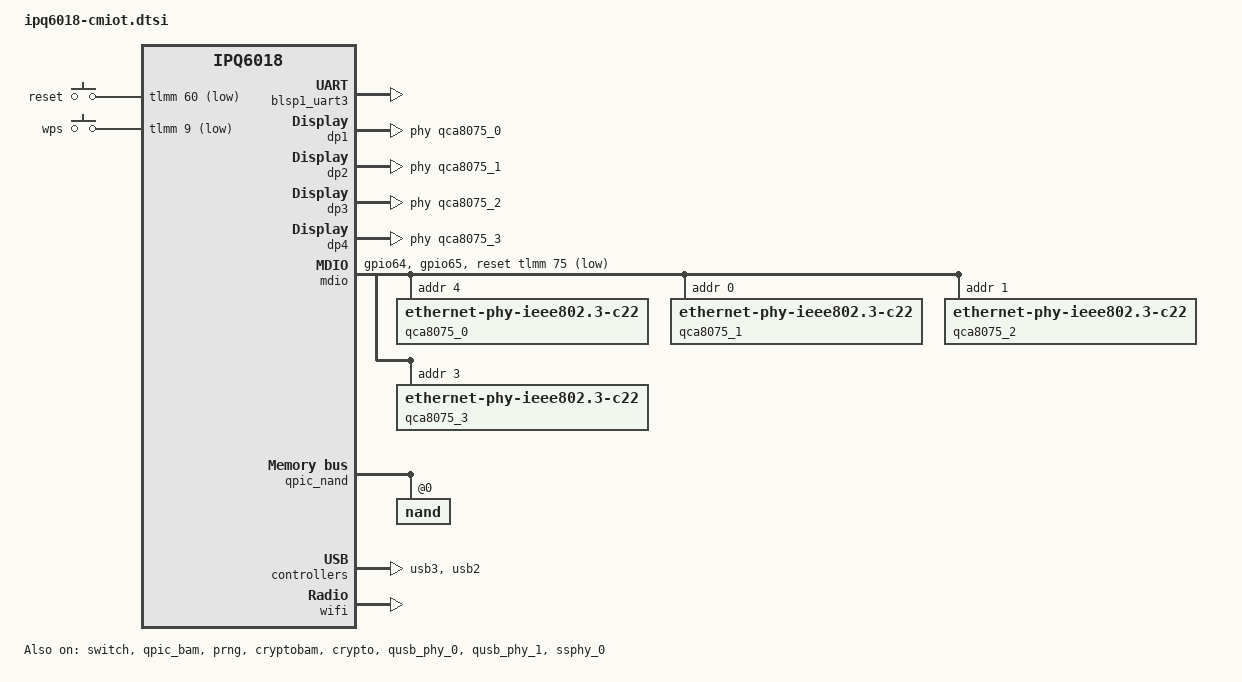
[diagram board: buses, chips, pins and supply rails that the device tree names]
// SPDX-License-Identifier: (GPL-2.0+)

/dts-v1/;

#include "ipq6018.dtsi"
#include "ipq6018-ess.dtsi"
#include "ipq6018-cpufreq.dtsi"
#include "ipq6018-256m.dtsi"
#include "ipq6018-nss.dtsi"


#include <dt-bindings/input/input.h>
#include <dt-bindings/gpio/gpio.h>

/ {
	aliases {
		serial0 = &blsp1_uart3;

		/* Aliases as required by u-boot to patch MAC addresses */
		ethernet0 = &dp1;
		ethernet1 = &dp2;
		ethernet2 = &dp3;
		ethernet3 = &dp4;
	};

	chosen {
		bootargs-append = " root=/dev/ubiblock0_1";
	};

	keys {
		compatible = "gpio-keys";

		reset {
			label = "reset";
			gpios = <&tlmm 60 GPIO_ACTIVE_LOW>;
			linux,code = <KEY_RESTART>;
		};

		wps {
			label = "wps";
			gpios = <&tlmm 9 GPIO_ACTIVE_LOW>;
			linux,code = <KEY_WPS_BUTTON>;
		};
	};
};

&blsp1_uart3 {
	pinctrl-0 = <&serial_3_pins>;
	pinctrl-names = "default";
	status = "okay";
};

&tlmm {
	mdio_pins: mdio-pins {
		mdc {
			pins = "gpio64";
			function = "mdc";
			drive-strength = <8>;
			bias-pull-up;
		};

		mdio {
			pins = "gpio65";
			function = "mdio";
			drive-strength = <8>;
			bias-pull-up;
		};
	};

    button_pins: button_pins {
		wps_button {
			pins = "gpio9";
			function = "gpio";
			drive-strength = <8>;
			bias-pull-up;
		};

		reset_button {
			pins = "gpio60";
			function = "gpio";
			drive-strength = <8>;
			bias-pull-up;
		};
	};
};


&dp1 {
	phy-handle = <&qca8075_0>;
	status = "okay";
	qcom,id = <5>;
	label = "wan";
};

&dp2 {
	phy-handle = <&qca8075_1>;
	status = "okay";
	qcom,id = <1>;
	label = "lan1";
};

&dp3 {
	phy-handle = <&qca8075_2>;
	status = "okay";
	qcom,id = <2>;
	label = "lan2";
};

&dp4 {
	phy-handle = <&qca8075_3>;
	status = "okay";
	qcom,id = <4>;
	label = "lan3";
};

&edma {
	status = "okay";
};

&mdio {
	status = "okay";
	pinctrl-0 = <&mdio_pins>;
	pinctrl-names = "default";
	reset-gpios = <&tlmm 75 GPIO_ACTIVE_LOW>;

	qca8075_0: ethernet-phy@0 {
		compatible = "ethernet-phy-ieee802.3-c22";
		reg = <4>;
	};

	qca8075_1: ethernet-phy@1 {
		compatible = "ethernet-phy-ieee802.3-c22";
		reg = <0>;
	};

	qca8075_2: ethernet-phy@2 {
		compatible = "ethernet-phy-ieee802.3-c22";
		reg = <1>;
	};

	qca8075_3: ethernet-phy@3 {
		compatible = "ethernet-phy-ieee802.3-c22";
		reg = <3>;
	};
};

&switch {
	status = "okay";

	switch_lan_bmp = <0x16>; /* lan port bitmap */
	switch_wan_bmp = <0x20>; /* wan port bitmap */
	switch_mac_mode = <0x0>; /* MAC mode for UNIPHY instance 0 */
	switch_mac_mode1 = <0x0>; /* MAC mode for UNIPHY instance 1 */
	switch_mac_mode2 = <0x0>; /* MAC mode for UNIPHY instance 2 */

	qcom,port_phyinfo {
		port@0 {
			port_id = <1>;
			phy_address = <0>;
		};
		port@1 {
			port_id = <2>;
			phy_address = <1>;
		};
		port@2 {
			port_id = <4>;
			phy_address = <3>;
		};
		port@3 {
			port_id = <5>;
			phy_address = <4>;
		};
	};
};

&qpic_bam {
	status = "okay";
};

&qpic_nand {
	status = "okay";

	nand@0 {
		reg = <0>;

		nand-ecc-strength = <4>;
		nand-ecc-step-size = <512>;
		nand-bus-width = <8>;
	};
};

&prng {
	status = "okay";
};

&cryptobam {
	status = "okay";
};

&crypto {
	status = "okay";
};

&qpic_bam {
	status = "okay";
};

&qusb_phy_0 {
	status = "okay";
};

&qusb_phy_1 {
	status = "okay";
};

&ssphy_0 {
	status = "okay";
};

&usb3 {
	status = "okay";
};

&usb2 {
	status = "okay";
};

&edma {
	status = "okay";
};

&wifi {
	status = "okay";
	qcom,ath11k-fw-memory-mode = <2>;
 };

&cpu0 {
	/delete-property/ cpu-supply;
};

&cpu1 {
	/delete-property/ cpu-supply;
};

&cpu2 {
	/delete-property/ cpu-supply;
};

&cpu3 {
	/delete-property/ cpu-supply;
};
